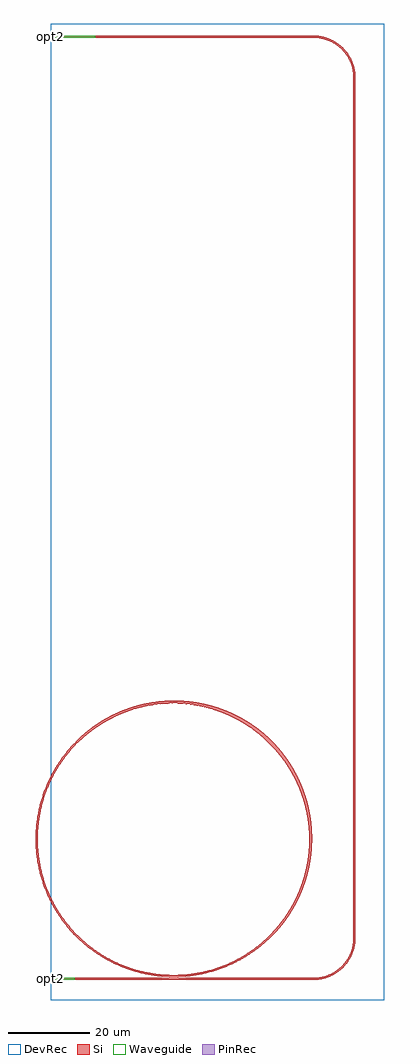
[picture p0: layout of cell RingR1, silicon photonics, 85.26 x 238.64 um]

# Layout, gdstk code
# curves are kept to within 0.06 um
import gdstk
lib = gdstk.Library(unit=1e-6, precision=1e-09)
def R(c, l, rs):  # rectangles x0, y0, x1, y1
    for r in rs: c.add(gdstk.rectangle(r[:2], r[2:], *l))
def P(c, l, *ps):  # polygons
    for p in ps: c.add(gdstk.Polygon(p, *l))
Si = (1, 0)
PinRec = (1, 10)
Waveguide = (1, 99)
DevRec = (68, 0)

ringr1 = lib.new_cell('RingR1')
R(ringr1, Si, [(3.698,4.914,9.56,5.414), (9.56,4.914,67.94,5.414), (77.69,15.164,78.19,225.544), (3.698,235.294,9.57,235.794), (8.163,235.294,14.56,235.794), (14.56,235.294,67.94,235.794)])
P(ringr1, Si, [(63.757,53.356),(62.843,55.156),(63.732,55.156),(63.937,54.759),(64.607,53.356)],
  [(64.545,51.546),(63.757,53.356),(64.607,53.356),(64.813,52.889),(65.359,51.546)],
  [(65.207,49.74),(64.545,51.546),(65.359,51.546),(65.537,51.069),(65.991,49.74)],
  [(65.752,47.941),(65.207,49.74),(65.991,49.74),(66.13,49.293),(66.509,47.941)],
  [(66.188,46.137),(65.752,47.941),(66.509,47.941),(66.648,47.384),(66.924,46.137)],
  [(55.643,64.155),(53.435,65.953),(54.787,65.953),(55.269,65.567),(56.892,64.155)],
  [(15.904,68.03),(17.697,69.079),(18.932,69.079),(16.976,68.03)],
  [(57.518,62.358),(55.643,64.155),(56.892,64.155),(57.204,63.863),(58.678,62.358)],
  [(60.553,58.763),(59.147,60.558),(60.217,60.558),(60.349,60.391),(61.551,58.763)],
  [(59.147,60.558),(57.518,62.358),(58.678,62.358),(58.867,62.151),(60.217,60.558)],
  [(50.766,67.748),(49.178,68.648),(50.821,68.638),(52.274,67.748)],
  [(13.999,66.743),(15.904,68.03),(16.976,68.03),(14.934,66.743)],
  [(35.727,72.451),(33.25,72.514),(33.25,73.186),(35.727,73.14)],
  [(12.328,65.448),(13.999,66.743),(14.934,66.743),(13.164,65.448)],
  [(30.773,72.393),(30.773,73.051),(33.25,73.186),(33.25,72.514)],
  [(77.69,225.544),(77.641,226.524),(77.493,227.494),(76.985,229.184),(76.181,230.755),(75.615,231.557),(74.972,232.298),(73.797,233.339),(72.296,234.267),(71.213,234.728),(70.273,235.011),(69.115,235.223),(67.94,235.294),(67.94,235.794),(68.97,235.742),(69.99,235.587),(70.989,235.33),(71.958,234.974),(72.885,234.522),(73.763,233.98),(74.581,233.352),(75.332,232.644),(76.009,231.865),(76.712,230.847),(77.287,229.751),(77.662,228.79),(78.057,227.188),(78.19,225.544)],
  [(10.239,62.865),(9.885,63.219),(11.521,64.76),(12.328,65.448),(13.164,65.448),(11.609,64.152)],
  [(28.292,72.083),(28.292,72.73),(30.773,73.051),(30.773,72.393)],
  [(19.793,70.127),(22.361,71.177),(24.306,71.177),(22.7,70.662),(21.275,70.127)],
  [(25.816,71.581),(25.816,72.221),(28.292,72.73),(28.292,72.083)],
  [(44.122,70.815),(42.44,71.327),(42.44,72.087),(44.399,71.51),(46.321,70.815)],
  [(22.361,71.177),(24.034,71.733),(25.816,72.221),(25.816,71.581),(24.306,71.177)],
  [(17.697,69.079),(19.793,70.127),(21.275,70.127),(18.932,69.079)],
  [(53.435,65.953),(50.766,67.748),(52.274,67.748),(52.701,67.467),(54.787,65.953)],
  [(39.14,72.057),(39.088,72.066),(39.088,72.786),(40.825,72.468),(42.44,72.087)],
  [(42.44,71.327),(40.715,71.753),(39.14,72.057),(42.44,72.057)],
  [(64.995,28.127),(65.577,29.922),(66.214,29.922),(65.631,28.127)],
  [(57.615,15.489),(57.261,15.843),(58.617,17.292),(59.301,17.292)],
  [(64.294,26.324),(64.995,28.127),(65.631,28.127),(64.93,26.324)],
  [(63.466,24.517),(64.294,26.324),(64.93,26.324),(64.105,24.517)],
  [(66.879,40.729),(66.52,44.333),(67.236,44.333),(67.422,42.815),(67.564,40.729)],
  [(60.101,19.099),(61.384,20.902),(62.037,20.902),(60.767,19.099)],
  [(66.845,37.126),(66.879,40.729),(67.564,40.729),(67.507,37.126)],
  [(66.416,33.526),(66.845,37.126),(67.507,37.126),(67.062,33.526)],
  [(66.319,30.29),(66.319,32.993),(66.416,33.526),(67.062,33.526),(66.735,31.916)],
  [(61.384,20.902),(62.501,22.71),(63.145,22.71),(62.037,20.902)],
  [(33.75,5.604),(31.91,5.654),(31.91,6.155),(33.75,6.104),(35.563,6.153),(39.166,6.548),(40.947,6.892),(43.054,7.432),(44.781,7.987),(46.474,8.635),(49.424,10.03),(52.223,11.708),(54.844,13.651),(57.261,15.843),(57.615,15.489),(55.161,13.265),(52.5,11.292),(49.66,9.589),(46.666,8.173),(43.547,7.057),(40.334,6.252),(37.058,5.767)],
  [(62.501,22.71),(63.466,24.517),(64.105,24.517),(63.145,22.71)],
  [(67.94,4.914),(67.94,5.414),(68.92,5.463),(70.082,5.652),(71.028,5.916),(72.12,6.355),(73.479,7.14),(74.834,8.27),(75.964,9.625),(76.749,10.984),(77.188,12.076),(77.452,13.022),(77.641,14.184),(77.69,15.164),(78.19,15.164),(78.138,14.134),(77.983,13.114),(77.726,12.115),(77.37,11.146),(76.918,10.219),(76.376,9.341),(75.188,7.916),(73.763,6.728),(72.885,6.186),(71.958,5.734),(70.989,5.378),(69.99,5.121),(68.97,4.966)],
  [(6.11,19.987),(5.089,21.532),(4.16,23.121),(3.162,25.091),(2.43,26.779),(1.791,28.505),(1.15,30.619),(0.722,32.409),(0.382,34.296),(0.887,34.296),(1.288,32.157),(1.828,30.05),(2.505,27.982),(3.316,25.963),(4.775,23.044),(5.707,21.489),(6.723,19.987)],
  [(58.617,17.292),(60.101,19.099),(60.767,19.099),(59.301,17.292)],
  [(65.577,29.922),(65.998,31.505),(66.319,32.993),(66.314,30.269),(66.214,29.922)],
  [(31.91,5.654),(30.076,5.805),(28.252,6.055),(26.445,6.404),(24.306,6.952),(22.553,7.515),(20.834,8.173),(19.154,8.924),(17.517,9.764),(15.928,10.693),(14.091,11.92),(12.625,13.033),(11.222,14.224),(9.885,15.489),(8.375,17.101),(7.2,18.517),(6.11,19.987),(6.723,19.987),(8.047,18.26),(9.482,16.625),(10.757,15.335),(12.377,13.883),(14.679,12.117),(17.44,10.379),(20.359,8.92),(23.406,7.754),(25.495,7.145),(27.619,6.674),(29.77,6.343),(31.91,6.155)],
  [(0.382,34.296),(0.128,36.412),(0.018,38.25),(0.018,40.458),(0.128,42.296),(0.339,44.124),(0.648,45.938),(1.15,48.089),(1.675,49.853),(2.43,51.929),(3.162,53.617),(3.985,55.264),(5.089,57.176),(6.104,58.712),(7.2,60.191),(8.375,61.607),(9.885,63.219),(10.239,62.865),(8.751,61.277),(7.371,59.595),(6.104,57.827),(4.955,55.979),(3.464,53.077),(2.15,49.698),(1.288,46.551),(0.739,43.334),(0.549,41.167),(0.502,38.991),(0.597,36.818),(0.887,34.296)],
  [(66.52,44.333),(66.188,46.137),(66.924,46.137),(67.236,44.333)],
  [(47.358,69.544),(44.122,70.815),(46.341,70.808),(49.149,69.544)],
  [(39.088,72.066),(35.727,72.451),(35.727,73.14),(39.088,72.786)],
  [(49.178,68.648),(47.358,69.544),(49.149,69.544),(50.803,68.648)],
  [(61.781,56.957),(60.553,58.763),(61.551,58.763),(61.72,58.517),(62.72,56.957)],
  [(62.843,55.156),(61.781,56.957),(62.72,56.957),(62.873,56.701),(63.732,55.156)])
R(ringr1, Waveguide, [(3.698,4.914,9.56,5.414), (3.698,235.294,9.57,235.794), (8.163,235.294,14.56,235.794)])
R(ringr1, DevRec, [(3.698,0,85.261,238.644)])
ringr1.add(gdstk.FlexPath([(3.708,235.544),(3.688,235.544)], 0.5, ends="flush", simple_path=True, layer=1, datatype=10))  # PinRec
ringr1.add(gdstk.FlexPath([(3.708,5.164),(3.688,5.164)], 0.5, ends="flush", simple_path=True, layer=1, datatype=10))  # PinRec
ringr1.add(gdstk.Label('opt2', (3.698,235.544), layer=1, texttype=10))
ringr1.add(gdstk.Label('opt2', (3.698,5.164), layer=1, texttype=10))
ringr1.add(gdstk.Label('Lumerical_INTERCONNECT_library=Design kits/EBeam', (9.56,5.064), layer=68, texttype=0))
ringr1.add(gdstk.Label('Spice_param:wg_length=0.000005872 wg_width=5e-07 points="[[618.681,-1096.027],[612.809,-1096.027]]" radius=5e-06', (9.57,235.544), layer=68, texttype=0))
ringr1.add(gdstk.Label('Spice_param:wg_length=0.000005872 wg_width=5e-07 points="[[618.681,-1096.027],[612.809,-1096.027]]" radius=5e-06', (9.56,5.164), layer=68, texttype=0))
ringr1.add(gdstk.Label('Length=5.872 (microns)', (9.56,4.564), layer=68, texttype=0))
ringr1.add(gdstk.Label('waveguide_type=Strip TE 1550 nm, w=500 nm', (9.56,4.964), layer=68, texttype=0))
ringr1.add(gdstk.Label('Length=5.872 (microns)', (9.57,234.944), layer=68, texttype=0))
ringr1.add(gdstk.Label('Spice_param:wg_length=0.000006397 wg_width=5e-07 points="[[623.681,-865.647],[617.284,-865.647]]" radius=5e-06', (14.56,235.544), layer=68, texttype=0))
ringr1.add(gdstk.Label('Length=6.397 (microns)', (14.56,234.944), layer=68, texttype=0))

lib.write_gds('RingR1.gds')
